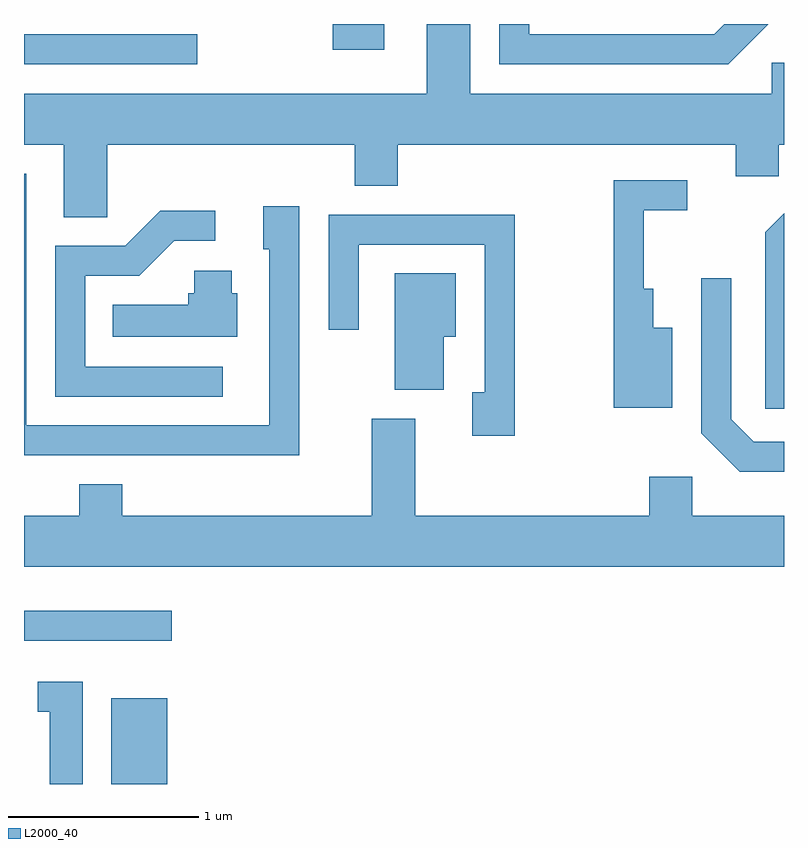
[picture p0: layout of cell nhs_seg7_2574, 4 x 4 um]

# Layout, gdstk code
import gdstk
lib = gdstk.Library(unit=1e-6, precision=1e-09)
def R(c, l, rs):  # rectangles x0, y0, x1, y1
    for r in rs: c.add(gdstk.rectangle(r[:2], r[2:], *l))
def P(c, l, *ps):  # polygons
    for p in ps: c.add(gdstk.Polygon(p, *l))
L2000_40 = (2000, 40)

nhs_seg7_2574 = lib.new_cell('nhs_seg7_2574')
R(nhs_seg7_2574, L2000_40, [(264.071,1744.252,264.364,1744.704), (263.611,1745.006,264.388,1745.164), (263.611,1748.041,264.523,1748.199), (265.236,1748.116,265.508,1748.252)])
P(nhs_seg7_2574, L2000_40, [(264.049,1747.616),(265.351,1747.616),(265.351,1747.401),(265.579,1747.401),(265.579,1747.616),(267.356,1747.616),(267.356,1747.451),(267.584,1747.451),(267.584,1747.616),(267.611,1747.616),(267.611,1748.049),(267.546,1748.049),(267.546,1747.884),(265.959,1747.884),(265.959,1748.252),(265.731,1748.252),(265.731,1747.884),(263.611,1747.884),(263.611,1747.616),(263.821,1747.616),(263.821,1747.236),(264.049,1747.236)],
  [(267.527,1748.252),(267.297,1748.252),(267.244,1748.199),(266.269,1748.199),(266.269,1748.252),(266.111,1748.252),(266.111,1748.041),(267.317,1748.041)],
  [(265.059,1747.294),(264.871,1747.294),(264.871,1747.066),(264.901,1747.066),(264.901,1746.139),(263.624,1746.139),(263.624,1747.464),(263.611,1747.464),(263.611,1745.981),(265.059,1745.981)],
  [(267.024,1746.654),(266.924,1746.654),(266.924,1746.859),(266.874,1746.859),(266.874,1747.271),(267.103,1747.271),(267.103,1747.429),(266.716,1747.429),(266.716,1746.231),(267.024,1746.231)],
  [(264.658,1746.449),(263.934,1746.449),(263.934,1746.926),(264.217,1746.926),(264.402,1747.111),(264.618,1747.111),(264.618,1747.269),(264.329,1747.269),(264.144,1747.084),(263.776,1747.084),(263.776,1746.291),(264.658,1746.291)],
  [(267.611,1747.257),(267.511,1747.157),(267.511,1746.226),(267.611,1746.226)],
  [(266.194,1747.249),(265.216,1747.249),(265.216,1746.643),(265.374,1746.643),(265.374,1747.091),(266.036,1747.091),(266.036,1746.314),(265.971,1746.314),(265.971,1746.086),(266.194,1746.086)],
  [(264.734,1746.834),(264.704,1746.834),(264.704,1746.954),(264.506,1746.954),(264.506,1746.834),(264.476,1746.834),(264.476,1746.774),(264.078,1746.774),(264.078,1746.606),(264.734,1746.606)],
  [(265.819,1746.606),(265.884,1746.606),(265.884,1746.939),(265.561,1746.939),(265.561,1746.326),(265.819,1746.326)],
  [(267.611,1746.054),(267.452,1746.054),(267.334,1746.172),(267.334,1746.913),(267.176,1746.913),(267.176,1746.099),(267.379,1745.896),(267.611,1745.896)],
  [(267.611,1745.664),(267.129,1745.664),(267.129,1745.869),(266.901,1745.869),(266.901,1745.664),(265.669,1745.664),(265.669,1746.174),(265.441,1746.174),(265.441,1745.664),(264.129,1745.664),(264.129,1745.829),(263.901,1745.829),(263.901,1745.664),(263.611,1745.664),(263.611,1745.396),(267.611,1745.396)],
  [(263.919,1744.789),(263.683,1744.789),(263.683,1744.631),(263.746,1744.631),(263.746,1744.252),(263.919,1744.252)])

lib.write_gds('nhs_seg7_2574.gds')
